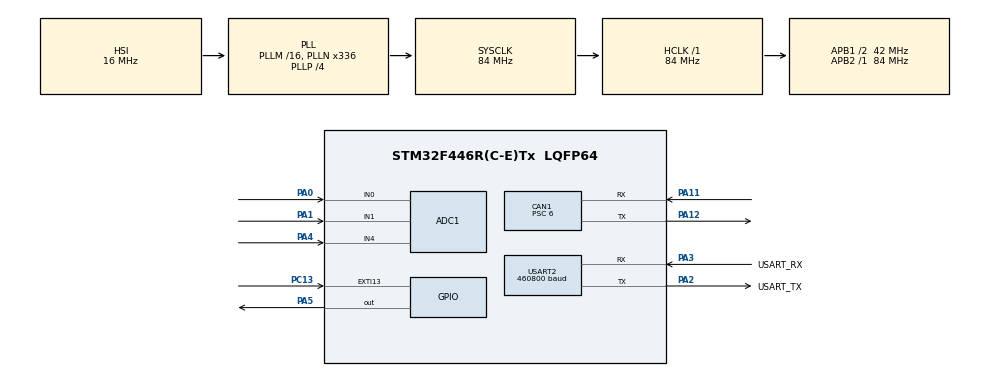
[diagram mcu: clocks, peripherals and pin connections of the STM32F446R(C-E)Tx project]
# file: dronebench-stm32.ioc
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ADC1.Channel-0\#ChannelRegularConversion=ADC_CHANNEL_0
ADC1.NbrOfConversionFlag=1
ADC1.Rank-0\#ChannelRegularConversion=1
ADC1.SamplingTime-0\#ChannelRegularConversion=ADC_SAMPLETIME_3CYCLES
ADC1.master=1
CAN1.BS1=CAN_BS1_11TQ
CAN1.BS2=CAN_BS2_2TQ
CAN1.CalculateBaudRate=500000
CAN1.CalculateTimeBit=2000
CAN1.CalculateTimeQuantum=142.85714285714286
CAN1.Mode=CAN_MODE_LOOPBACK
CAN1.Prescaler=6
Mcu.Family=STM32F4
Mcu.Name=STM32F446R(C-E)Tx
Mcu.Package=LQFP64
NUCLEO-F446RE.BUTTON=1
NUCLEO-F446RE.LD1=true
NVIC.EXTI15_10_IRQn=true\:0\:0\:false\:false\:true\:false\:true\:true
NVIC.PriorityGroup=NVIC_PRIORITYGROUP_0
PA0-WKUP.Signal=ADCx_IN0
PA1.Signal=ADCx_IN1
PA11.Mode=CAN_Activate
PA11.Signal=CAN1_RX
PA12.Mode=CAN_Activate
PA12.Signal=CAN1_TX
PA13.GPIO_Label=TMS
PA13.Signal=SYS_JTMS-SWDIO
PA14.GPIO_Label=TCK
PA14.Signal=SYS_JTCK-SWCLK
PA2.GPIO_Label=USART_TX
PA2.Mode=Asynchronous
PA2.Signal=USART2_TX
PA3.GPIO_Label=USART_RX
PA3.Mode=Asynchronous
PA3.Signal=USART2_RX
PA4.Signal=ADCx_IN4
PA5.Signal=GPIO_Output
PB3.GPIO_Label=SWO
PB3.Signal=SYS_JTDO-SWO
PC13.Signal=GPXTI13
PC14-OSC32_IN.Signal=RCC_OSC32_IN
PC15-OSC32_OUT.Signal=RCC_OSC32_OUT
PH0-OSC_IN.Signal=RCC_OSC_IN
PH1-OSC_OUT.Signal=RCC_OSC_OUT
ProjectManager.HeapSize=0x200
ProjectManager.StackSize=0x400
ProjectManager.TargetToolchain=STM32CubeIDE
RCC.AHBFreq_Value=84000000
RCC.APB1CLKDivider=RCC_HCLK_DIV2
RCC.APB1Freq_Value=42000000
RCC.APB1TimFreq_Value=84000000
RCC.APB2Freq_Value=84000000
RCC.APB2TimFreq_Value=84000000
RCC.CortexFreq_Value=84000000
RCC.FLatency-AdvancedSettings=FLASH_LATENCY_2
RCC.HCLKFreq_Value=84000000
RCC.HSE_VALUE=8000000
RCC.HSI_VALUE=16000000
RCC.LSE_VALUE=32768
RCC.PLLN=336
RCC.PLLP=RCC_PLLP_DIV4
RCC.SYSCLKFreq_VALUE=84000000
RCC.SYSCLKSource=RCC_SYSCLKSOURCE_PLLCLK
RCC.USBFreq_Value=168000000
RCC.VCOOutputFreq_Value=336000000
SH.ADCx_IN0.0=ADC1_IN0,IN0
SH.ADCx_IN1.0=ADC1_IN1,IN1
SH.ADCx_IN4.0=ADC1_IN4,IN4
USART2.BaudRate=460800
USART2.VirtualMode=VM_ASYNC
VP_ADC1_Vref_Input.Mode=IN-Vrefint
VP_NUCLEO-F446RE_VS_BSP_COMMON.Mode=COMMON
board=NUCLEO-F446RE

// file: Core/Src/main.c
/* USER CODE BEGIN Header */
/**
  ******************************************************************************
  * @file           : main.c
  * @brief          : Main program body
  ******************************************************************************
  * @attention
  *
  * Copyright (c) 2026 STMicroelectronics.
  * All rights reserved.
  *
  * This software is licensed under terms that can be found in the LICENSE file
  * in the root directory of this software component.
  * If no LICENSE file comes with this software, it is provided AS-IS.
  *
  ******************************************************************************
  */
/* USER CODE END Header */
#include "main.h"

/* USER CODE BEGIN Includes */
#include "app_stm32.h"
#include <stdio.h>

/* USER CODE END Includes */

ADC_HandleTypeDef hadc1;

CAN_HandleTypeDef hcan1;

UART_HandleTypeDef huart2;

void SystemClock_Config(void);
static void MX_GPIO_Init(void);
static void MX_ADC1_Init(void);
static void MX_USART2_UART_Init(void);
static void MX_CAN1_Init(void);

int main(void)
{

  /* MCU Configuration--------------------------------------------------------*/

  /* Reset of all peripherals, Initializes the Flash interface and the Systick. */
  HAL_Init();

  /* Configure the system clock */
  SystemClock_Config();

  /* Initialize all configured peripherals */
  MX_GPIO_Init();
  MX_ADC1_Init();
  MX_USART2_UART_Init();
  MX_CAN1_Init();
  /* USER CODE BEGIN 2 */
  app_stm32_init();

  /* --- CAN1 loopback self-test ------------------------------------------ */
  {
    char line[96];
    int  n;

    /* Filter first. Without one the FIFO accepts nothing -- not even a frame
       the peripheral sent to itself. A mask of zeros means "check no bit of
       the ID", so everything passes. */
    CAN_FilterTypeDef filter = {0};
    filter.FilterBank           = 0;
    filter.FilterMode           = CAN_FILTERMODE_IDMASK;
    filter.FilterScale          = CAN_FILTERSCALE_32BIT;
    filter.FilterIdHigh         = 0x0000;
    filter.FilterIdLow          = 0x0000;
    filter.FilterMaskIdHigh     = 0x0000;
    filter.FilterMaskIdLow      = 0x0000;
    filter.FilterFIFOAssignment = CAN_RX_FIFO0;
    filter.FilterActivation     = ENABLE;
    filter.SlaveStartFilterBank = 14;

    if (HAL_CAN_ConfigFilter(&hcan1, &filter) != HAL_OK) {
      n = snprintf(line, sizeof line, "CAN: filter failed\r\n");
      HAL_UART_Transmit(&huart2, (uint8_t *)line, n, 100);
    } else if (HAL_CAN_Start(&hcan1) != HAL_OK) {
      n = snprintf(line, sizeof line, "CAN: start failed\r\n");
      HAL_UART_Transmit(&huart2, (uint8_t *)line, n, 100);
    } else {
      CAN_TxHeaderTypeDef tx = {0};
      tx.StdId = 0x123;
      tx.IDE   = CAN_ID_STD;
      tx.RTR   = CAN_RTR_DATA;
      tx.DLC   = 4;

      uint8_t  payload[4] = {0xDE, 0xAD, 0xBE, 0xEF};
      uint32_t mailbox;

      if (HAL_CAN_AddTxMessage(&hcan1, &tx, payload, &mailbox) != HAL_OK) {
        n = snprintf(line, sizeof line, "CAN: tx failed\r\n");
      } else {
        /* In loopback the frame comes back in microseconds. The 100 ms cap is
           only there so a misconfiguration cannot hang the board. */
        uint32_t t0 = HAL_GetTick();
        while (HAL_CAN_GetRxFifoFillLevel(&hcan1, CAN_RX_FIFO0) == 0 &&
               HAL_GetTick() - t0 < 100) {
        }

        if (HAL_CAN_GetRxFifoFillLevel(&hcan1, CAN_RX_FIFO0) == 0) {
          /* ESR is the error status register; its low bits (LEC) name the
             last error the peripheral saw. */
          n = snprintf(line, sizeof line, "CAN: nothing rx, ESR=0x%08lX\r\n",
                       (unsigned long)hcan1.Instance->ESR);
        } else {
          CAN_RxHeaderTypeDef rx;
          uint8_t buf[8] = {0};
          HAL_CAN_GetRxMessage(&hcan1, CAN_RX_FIFO0, &rx, buf);
          n = snprintf(line, sizeof line,
                       "CAN rx: ID=0x%03lX DLC=%lu  %02X %02X %02X %02X\r\n",
                       (unsigned long)rx.StdId, (unsigned long)rx.DLC,
                       buf[0], buf[1], buf[2], buf[3]);
        }
      }
      HAL_UART_Transmit(&huart2, (uint8_t *)line, n, 100);
    }
  }

  /* USER CODE END 2 */

  /* Initialize leds */
  BSP_LED_Init(LED2);

  /* Initialize USER push-button, will be used to trigger an interrupt each time it's pressed.*/
  BSP_PB_Init(BUTTON_USER, BUTTON_MODE_EXTI);

  /* Infinite loop */
  while (1)
  {

    /* USER CODE BEGIN 3 */
    app_stm32_poll();
  }
  /* USER CODE END 3 */
}

void SystemClock_Config(void)
{
  RCC_OscInitTypeDef RCC_OscInitStruct = {0};
  RCC_ClkInitTypeDef RCC_ClkInitStruct = {0};

  /** Configure the main internal regulator output voltage
  */
  __HAL_RCC_PWR_CLK_ENABLE();
  __HAL_PWR_VOLTAGESCALING_CONFIG(PWR_REGULATOR_VOLTAGE_SCALE3);

  /** Initializes the RCC Oscillators according to the specified parameters
  * in the RCC_OscInitTypeDef structure.
  */
  RCC_OscInitStruct.OscillatorType = RCC_OSCILLATORTYPE_HSI;
  RCC_OscInitStruct.HSIState = RCC_HSI_ON;
  RCC_OscInitStruct.HSICalibrationValue = RCC_HSICALIBRATION_DEFAULT;
  RCC_OscInitStruct.PLL.PLLState = RCC_PLL_ON;
  RCC_OscInitStruct.PLL.PLLSource = RCC_PLLSOURCE_HSI;
  RCC_OscInitStruct.PLL.PLLM = 16;
  RCC_OscInitStruct.PLL.PLLN = 336;
  RCC_OscInitStruct.PLL.PLLP = RCC_PLLP_DIV4;
  RCC_OscInitStruct.PLL.PLLQ = 2;
  RCC_OscInitStruct.PLL.PLLR = 2;
  if (HAL_RCC_OscConfig(&RCC_OscInitStruct) != HAL_OK)
  {
    Error_Handler();
  }

  /** Initializes the CPU, AHB and APB buses clocks
  */
  RCC_ClkInitStruct.ClockType = RCC_CLOCKTYPE_HCLK|RCC_CLOCKTYPE_SYSCLK
                              |RCC_CLOCKTYPE_PCLK1|RCC_CLOCKTYPE_PCLK2;
  RCC_ClkInitStruct.SYSCLKSource = RCC_SYSCLKSOURCE_PLLCLK;
  RCC_ClkInitStruct.AHBCLKDivider = RCC_SYSCLK_DIV1;
  RCC_ClkInitStruct.APB1CLKDivider = RCC_HCLK_DIV2;
  RCC_ClkInitStruct.APB2CLKDivider = RCC_HCLK_DIV1;

  if (HAL_RCC_ClockConfig(&RCC_ClkInitStruct, FLASH_LATENCY_2) != HAL_OK)
  {
    Error_Handler();
  }
}

static void MX_ADC1_Init(void)
{

  ADC_ChannelConfTypeDef sConfig = {0};

  /** Configure the global features of the ADC (Clock, Resolution, Data Alignment and number of conversion)
  */
  hadc1.Instance = ADC1;
  hadc1.Init.ClockPrescaler = ADC_CLOCK_SYNC_PCLK_DIV4;
  hadc1.Init.Resolution = ADC_RESOLUTION_12B;
  hadc1.Init.ScanConvMode = DISABLE;
  hadc1.Init.ContinuousConvMode = DISABLE;
  hadc1.Init.DiscontinuousConvMode = DISABLE;
  hadc1.Init.ExternalTrigConvEdge = ADC_EXTERNALTRIGCONVEDGE_NONE;
  hadc1.Init.ExternalTrigConv = ADC_SOFTWARE_START;
  hadc1.Init.DataAlign = ADC_DATAALIGN_RIGHT;
  hadc1.Init.NbrOfConversion = 1;
  hadc1.Init.DMAContinuousRequests = DISABLE;
  hadc1.Init.EOCSelection = ADC_EOC_SINGLE_CONV;
  if (HAL_ADC_Init(&hadc1) != HAL_OK)
  {
    Error_Handler();
  }

  /** Configure for the selected ADC regular channel its corresponding rank in the sequencer and its sample time.
  */
  sConfig.Channel = ADC_CHANNEL_0;
  sConfig.Rank = 1;
  sConfig.SamplingTime = ADC_SAMPLETIME_3CYCLES;
  if (HAL_ADC_ConfigChannel(&hadc1, &sConfig) != HAL_OK)
  {
    Error_Handler();
  }

}

static void MX_CAN1_Init(void)
{

  hcan1.Instance = CAN1;
  hcan1.Init.Prescaler = 6;
  hcan1.Init.Mode = CAN_MODE_LOOPBACK;
  hcan1.Init.SyncJumpWidth = CAN_SJW_1TQ;
  hcan1.Init.TimeSeg1 = CAN_BS1_11TQ;
  hcan1.Init.TimeSeg2 = CAN_BS2_2TQ;
  hcan1.Init.TimeTriggeredMode = DISABLE;
  hcan1.Init.AutoBusOff = DISABLE;
  hcan1.Init.AutoWakeUp = DISABLE;
  hcan1.Init.AutoRetransmission = DISABLE;
  hcan1.Init.ReceiveFifoLocked = DISABLE;
  hcan1.Init.TransmitFifoPriority = DISABLE;
  if (HAL_CAN_Init(&hcan1) != HAL_OK)
  {
    Error_Handler();
  }

}

static void MX_USART2_UART_Init(void)
{

  huart2.Instance = USART2;
  huart2.Init.BaudRate = 460800;
  huart2.Init.WordLength = UART_WORDLENGTH_8B;
  huart2.Init.StopBits = UART_STOPBITS_1;
  huart2.Init.Parity = UART_PARITY_NONE;
  huart2.Init.Mode = UART_MODE_TX_RX;
  huart2.Init.HwFlowCtl = UART_HWCONTROL_NONE;
  huart2.Init.OverSampling = UART_OVERSAMPLING_16;
  if (HAL_UART_Init(&huart2) != HAL_OK)
  {
    Error_Handler();
  }

}

static void MX_GPIO_Init(void)
{

  /* GPIO Ports Clock Enable */
  __HAL_RCC_GPIOC_CLK_ENABLE();
  __HAL_RCC_GPIOH_CLK_ENABLE();
  __HAL_RCC_GPIOA_CLK_ENABLE();
  __HAL_RCC_GPIOB_CLK_ENABLE();

}

void Error_Handler(void)
{
  __disable_irq();
  while (1)
  {
  }
}
